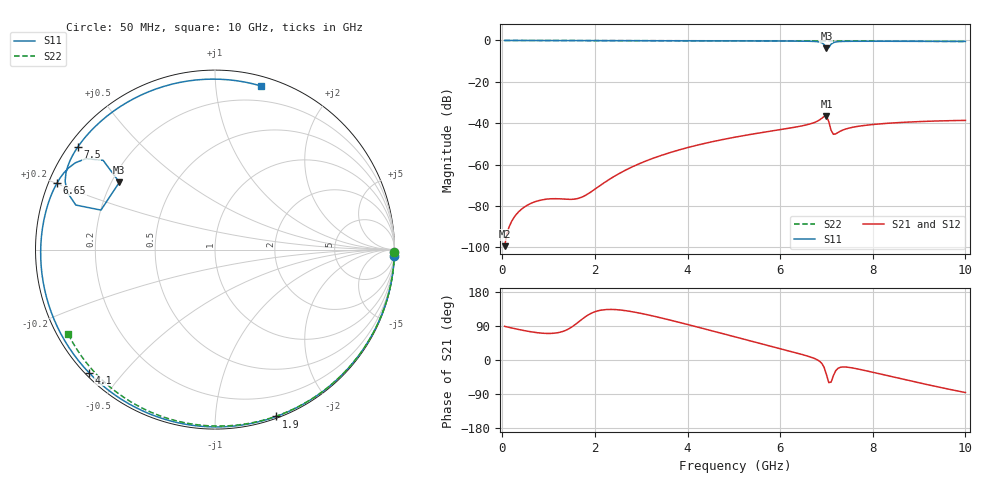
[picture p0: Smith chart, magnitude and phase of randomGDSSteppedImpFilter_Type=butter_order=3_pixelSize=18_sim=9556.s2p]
! freq	dB(S11)	phase(S11)	dB(S12)	phase(S12)
!  dB(S21)	phase(S21)	dB(S22)	phase(S22)
!S-par simulation data
#  GHz  S  DB  R 50
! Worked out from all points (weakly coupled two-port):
!   200 points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, 50 MHz to 10 GHz, reference 50 ohm
!   highest |S21| = -36.56 dB at 7 GHz (marker M1); lowest = -99.4 dB at 50 MHz (marker M2)
!   lowest |S11| = -3.7 dB at 7 GHz (marker M3), VSWR 4.74, Z = 11.6 + j15.1 ohm
!   |S11| at or under -10 dB: nowhere
!   |S22| runs from -0.5 to 0.0 dB; largest |S21 - S12| = 0
!   S11 on the Smith chart (normalised r, x): 50 MHz: 0, -59; 1.9 GHz: 0.01, -1.43; 4.1 GHz: 0.01, -0.41; 6.65 GHz: 0.02, +0.20; 7.5 GHz: 0.03, +0.33; 10 GHz: 0.07, +1.32
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0.05  -0.00 -1.9  -99.44 88.8  -99.44 88.8  -0.00 -0.9
0.5  -0.03 -19.2  -80.19 77.0  -80.19 77.0  -0.01 -8.6
0.8  -0.04 -30.5  -77.34 71.4  -77.34 71.4  -0.02 -13.8
1.75  -0.08 -64.7  -75.41 110.2  -75.41 110.2  -0.04 -29.9
1.9  -0.08 -69.8  -73.44 122.0  -73.44 122.0  -0.04 -32.4
2.6  -0.11 -92.5  -63.40 131.2  -63.40 131.2  -0.06 -43.9
3.4  -0.14 -116.3  -55.81 112.0  -55.81 112.0  -0.08 -56.7
4.1  -0.16 -135.7  -51.22 90.6  -51.22 90.6  -0.09 -67.6
5.05  -0.21 -160.4  -46.65 60.3  -46.65 60.3  -0.13 -81.9
5.9  -0.26 178.0  -43.46 33.1  -43.46 33.1  -0.16 -94.2
6.65  -0.40 157.0  -40.32 8.1  -40.32 8.1  -0.20 -104.8
6.7  -0.44 155.2  -39.97 6.0  -39.97 6.0  -0.20 -105.5
6.9  -1.12 144.8  -37.62 -9.1  -37.62 -9.1  -0.22 -108.2
6.95  -1.97 141.4  -36.73 -19.6  -36.73 -19.6  -0.22 -108.9
7  -3.72 144.9  -36.56 -39.0  -36.56 -39.0  -0.22 -109.6
7.05  -3.45 160.9  -39.22 -59.6  -39.22 -59.6  -0.23 -110.3
7.1  -1.79 162.2  -43.45 -58.4  -43.45 -58.4  -0.23 -111.0
7.15  -1.05 158.7  -45.36 -41.2  -45.36 -41.2  -0.23 -111.7
7.5  -0.40 143.3  -42.28 -19.7  -42.28 -19.7  -0.26 -116.4
8.35  -0.40 119.6  -39.99 -42.2  -39.99 -42.2  -0.33 -127.9
9.2  -0.44 96.5  -39.05 -65.6  -39.05 -65.6  -0.41 -139.3
10  -0.47 74.3  -38.64 -85.9  -38.64 -85.9  -0.51 -150.2
